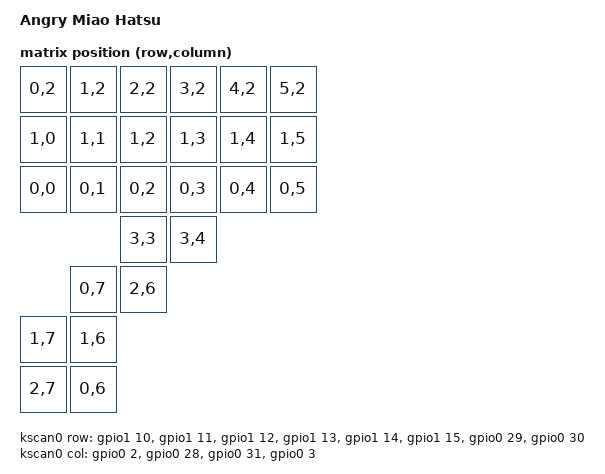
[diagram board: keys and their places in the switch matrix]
/*
 * Copyright (c) 2017 Linaro Limited
 *
 * SPDX-License-Identifier: Apache-2.0
 */

/dts-v1/;
#include <nordic/nrf52840_qiaa.dtsi>
#include <dt-bindings/zmk/matrix_transform.h>
 
 / {
     model = "Angry Miao Hatsu";
     compatible = "angry_miao,hatsu";
 
     chosen {
        zephyr,console = &cdc_acm_uart;
		zephyr,shell-uart = &cdc_acm_uart;
        zephyr,code-partition = &code_partition;
        zephyr,sram = &sram0;
        zephyr,flash = &flash0;
        zmk,kscan = &kscan0;
        zmk,matrix_transform = &layout_grid_transform;
     };

    kscan0: kscan {
        compatible = "zmk,kscan-gpio-matrix";
        label = "KSCAN";
        col-gpios
            = <&gpio0 2 GPIO_ACTIVE_HIGH>
            , <&gpio0 28 GPIO_ACTIVE_HIGH>
            , <&gpio0 31 GPIO_ACTIVE_HIGH>
            , <&gpio0 3 GPIO_ACTIVE_HIGH>;
        
        row-gpios
            = <&gpio1 10 (GPIO_ACTIVE_HIGH | GPIO_PULL_DOWN)>
            , <&gpio1 11 (GPIO_ACTIVE_HIGH | GPIO_PULL_DOWN)>
            , <&gpio1 12 (GPIO_ACTIVE_HIGH | GPIO_PULL_DOWN)>
            , <&gpio1 13 (GPIO_ACTIVE_HIGH | GPIO_PULL_DOWN)>
            , <&gpio1 14 (GPIO_ACTIVE_HIGH | GPIO_PULL_DOWN)>
            , <&gpio1 15 (GPIO_ACTIVE_HIGH | GPIO_PULL_DOWN)>
            , <&gpio0 29 (GPIO_ACTIVE_HIGH | GPIO_PULL_DOWN)>
            , <&gpio0 30 (GPIO_ACTIVE_HIGH | GPIO_PULL_DOWN)>;
    };

    layout_grid_transform:
        keymap_transform_0 {
            compatible = "zmk,matrix-transform";
            columns = <4>;
            rows = <8>;
            map = <
            RC(0, 2) RC(1, 2) RC(2, 2) RC(3, 2) RC(4, 2) RC(5, 2)
            RC(1, 0) RC(1, 1) RC(1, 2) RC(1, 3) RC(1, 4) RC(1,5)
            RC(0, 0) RC(0, 1) RC(0, 2) RC(0, 3) RC(0, 4) RC(0,5)
                              RC(3, 3) RC(3, 4)
                     RC(0, 7) RC(2, 6)
            RC(1, 7) RC(1, 6)
            RC(2, 7) RC(0, 6)
            >;
    };
 };
 
 &adc {
     status = "okay";
 };
 
 &gpiote {
     status = "okay";
 };
 
 &gpio0 {
     status = "okay";
 };
 
 &gpio1 {
     status = "okay";
 };

/* 
 &uart0 {
     compatible = "nordic,nrf-uarte";
     status = "okay";
     current-speed = <115200>;
     //pinctrl-0 = <&uart0_default>;
     //pinctrl-1 = <&uart0_sleep>;
     //pinctrl-names = "default", "sleep";
 };
 */

 &usbd {
    status = "okay";
    cdc_acm_uart: cdc_acm_uart {
        compatible = "zephyr,cdc-acm-uart";
        label = "CDC_ACM_0";
    };
};

&flash0 {
    /*
     * For more information, see:
     * http://docs.zephyrproject.org/latest/devices/dts/flash_partitions.html
     */
    partitions {
        compatible = "fixed-partitions";
        #address-cells = <1>;
        #size-cells = <1>;

        sd_partition: partition@0 {
            label = "mbr";
            reg = <0x00000000 0x00001000>;
        };

        code_partition: partition@1000 {
            label = "code_partition";
            reg = <0x00001000 0x000d3000>;
        };

        /*
         * The flash starting at 0x000d4000 and ending at
         * 0x000f3fff is reserved for use by the application.
         */

        /*
         * Storage partition will be used by FCB/LittleFS/NVS
         * if enabled.
         */
        storage_partition: partition@d4000 {
            label = "storage";
            reg = <0x000d4000 0x00020000>;
        };

        boot_partition: partition@f4000 {
            label = "adafruit_boot";
            reg = <0x000f4000 0x0000c000>;
        };
    };
};
